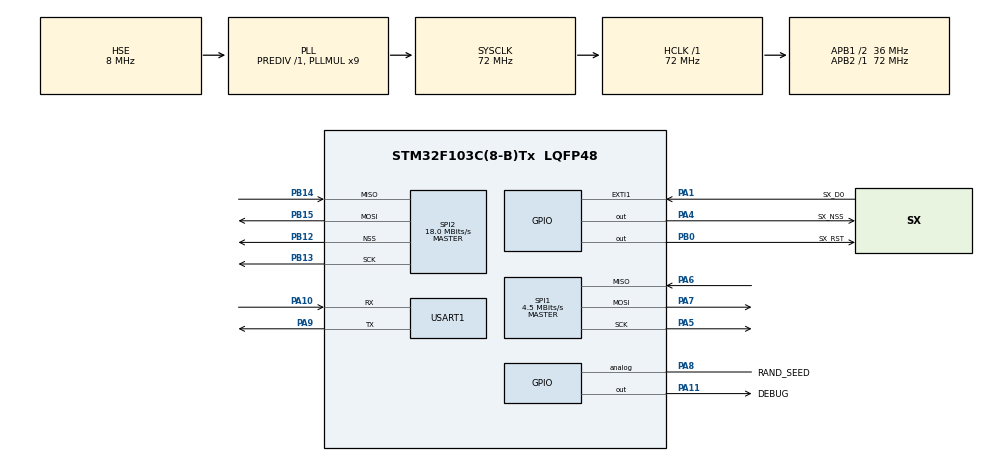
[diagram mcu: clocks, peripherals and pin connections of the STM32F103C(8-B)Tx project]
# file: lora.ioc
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Dma.Request0=USART1_RX
Dma.Request1=USART1_TX
Dma.Request2=SPI1_RX
Dma.Request3=SPI1_TX
Dma.SPI1_RX.2.Direction=DMA_PERIPH_TO_MEMORY
Dma.SPI1_RX.2.Instance=DMA1_Channel2
Dma.SPI1_RX.2.MemDataAlignment=DMA_MDATAALIGN_BYTE
Dma.SPI1_RX.2.MemInc=DMA_MINC_DISABLE
Dma.SPI1_RX.2.Mode=DMA_NORMAL
Dma.SPI1_RX.2.PeriphDataAlignment=DMA_PDATAALIGN_BYTE
Dma.SPI1_RX.2.PeriphInc=DMA_PINC_DISABLE
Dma.SPI1_RX.2.Priority=DMA_PRIORITY_LOW
Dma.SPI1_TX.3.Direction=DMA_MEMORY_TO_PERIPH
Dma.SPI1_TX.3.Instance=DMA1_Channel3
Dma.SPI1_TX.3.MemDataAlignment=DMA_MDATAALIGN_BYTE
Dma.SPI1_TX.3.MemInc=DMA_MINC_DISABLE
Dma.SPI1_TX.3.Mode=DMA_NORMAL
Dma.SPI1_TX.3.PeriphDataAlignment=DMA_PDATAALIGN_BYTE
Dma.SPI1_TX.3.PeriphInc=DMA_PINC_DISABLE
Dma.SPI1_TX.3.Priority=DMA_PRIORITY_LOW
Dma.USART1_RX.0.Direction=DMA_PERIPH_TO_MEMORY
Dma.USART1_RX.0.Instance=DMA1_Channel5
Dma.USART1_RX.0.MemDataAlignment=DMA_MDATAALIGN_BYTE
Dma.USART1_RX.0.MemInc=DMA_MINC_ENABLE
Dma.USART1_RX.0.Mode=DMA_NORMAL
Dma.USART1_RX.0.PeriphDataAlignment=DMA_PDATAALIGN_BYTE
Dma.USART1_RX.0.PeriphInc=DMA_PINC_DISABLE
Dma.USART1_RX.0.Priority=DMA_PRIORITY_LOW
Dma.USART1_TX.1.Direction=DMA_MEMORY_TO_PERIPH
Dma.USART1_TX.1.Instance=DMA1_Channel4
Dma.USART1_TX.1.MemDataAlignment=DMA_MDATAALIGN_BYTE
Dma.USART1_TX.1.MemInc=DMA_MINC_ENABLE
Dma.USART1_TX.1.Mode=DMA_NORMAL
Dma.USART1_TX.1.PeriphDataAlignment=DMA_PDATAALIGN_BYTE
Dma.USART1_TX.1.PeriphInc=DMA_PINC_DISABLE
Dma.USART1_TX.1.Priority=DMA_PRIORITY_LOW
FREERTOS.Tasks01=defaultTask,24,128,StartDefaultTask,Default,NULL,Dynamic,NULL,NULL
FREERTOS.configCHECK_FOR_STACK_OVERFLOW=2
FREERTOS.configTOTAL_HEAP_SIZE=4096
FREERTOS.configUSE_MALLOC_FAILED_HOOK=1
FREERTOS.configUSE_NEWLIB_REENTRANT=1
Mcu.Family=STM32F1
Mcu.Name=STM32F103C(8-B)Tx
Mcu.Package=LQFP48
NVIC.DMA1_Channel2_IRQn=true\:5\:0\:false\:false\:true\:true\:false\:true\:true
NVIC.DMA1_Channel3_IRQn=true\:5\:0\:false\:false\:true\:true\:false\:true\:true
NVIC.DMA1_Channel4_IRQn=true\:5\:0\:false\:false\:true\:true\:false\:true\:true
NVIC.DMA1_Channel5_IRQn=true\:5\:0\:false\:false\:true\:true\:false\:true\:true
NVIC.EXTI1_IRQn=true\:5\:0\:false\:false\:true\:true\:true\:true\:true
NVIC.PriorityGroup=NVIC_PRIORITYGROUP_4
NVIC.SPI1_IRQn=true\:5\:0\:false\:false\:true\:true\:true\:true\:true
NVIC.SPI2_IRQn=true\:5\:0\:false\:false\:true\:true\:true\:true\:true
NVIC.TIM3_IRQn=true\:5\:0\:false\:false\:true\:true\:true\:true\:true
NVIC.TIM4_IRQn=true\:15\:0\:false\:false\:true\:false\:false\:true\:true
NVIC.TimeBase=TIM4_IRQn
NVIC.TimeBaseIP=TIM4
NVIC.USART1_IRQn=true\:5\:0\:false\:false\:true\:true\:true\:true\:true
PA1.GPIO_Label=SX_D0
PA1.GPIO_PuPd=GPIO_PULLUP
PA1.Signal=GPXTI1
PA10.Mode=Asynchronous
PA10.Signal=USART1_RX
PA11.GPIO_Label=DEBUG
PA11.GPIO_PuPd=GPIO_PULLUP
PA11.GPIO_Speed=GPIO_SPEED_FREQ_HIGH
PA11.PinState=GPIO_PIN_SET
PA11.Signal=GPIO_Output
PA13.Mode=Serial_Wire
PA13.Signal=SYS_JTMS-SWDIO
PA14.Mode=Serial_Wire
PA14.Signal=SYS_JTCK-SWCLK
PA4.GPIO_Label=SX_NSS
PA4.GPIO_Speed=GPIO_SPEED_FREQ_HIGH
PA4.PinState=GPIO_PIN_SET
PA4.Signal=GPIO_Output
PA5.Mode=Full_Duplex_Master
PA5.Signal=SPI1_SCK
PA6.Mode=Full_Duplex_Master
PA6.Signal=SPI1_MISO
PA7.Mode=Full_Duplex_Master
PA7.Signal=SPI1_MOSI
PA8.GPIO_Label=RAND_SEED
PA8.Signal=GPIO_Analog
PA9.Mode=Asynchronous
PA9.Signal=USART1_TX
PB0.GPIO_Label=SX_RST
PB0.GPIO_Speed=GPIO_SPEED_FREQ_HIGH
PB0.PinState=GPIO_PIN_SET
PB0.Signal=GPIO_Output
PB12.Mode=NSS_Signal_Hard_Output
PB12.Signal=SPI2_NSS
PB13.Mode=Full_Duplex_Master
PB13.Signal=SPI2_SCK
PB14.Mode=Full_Duplex_Master
PB14.Signal=SPI2_MISO
PB15.Mode=Full_Duplex_Master
PB15.Signal=SPI2_MOSI
PC14-OSC32_IN.Mode=LSE-External-Oscillator
PC14-OSC32_IN.Signal=RCC_OSC32_IN
PC15-OSC32_OUT.Mode=LSE-External-Oscillator
PC15-OSC32_OUT.Signal=RCC_OSC32_OUT
PD0-OSC_IN.Mode=HSE-External-Oscillator
PD0-OSC_IN.Signal=RCC_OSC_IN
PD1-OSC_OUT.Mode=HSE-External-Oscillator
PD1-OSC_OUT.Signal=RCC_OSC_OUT
ProjectManager.HeapSize=0x200
ProjectManager.StackSize=0x400
ProjectManager.TargetToolchain=STM32CubeIDE
RCC.AHBFreq_Value=72000000
RCC.APB1CLKDivider=RCC_HCLK_DIV2
RCC.APB1Freq_Value=36000000
RCC.APB1TimFreq_Value=72000000
RCC.APB2Freq_Value=72000000
RCC.APB2TimFreq_Value=72000000
RCC.HCLKFreq_Value=72000000
RCC.PLLMUL=RCC_PLL_MUL9
RCC.PLLSourceVirtual=RCC_PLLSOURCE_HSE
RCC.SYSCLKFreq_VALUE=72000000
RCC.SYSCLKSource=RCC_SYSCLKSOURCE_PLLCLK
RCC.USBFreq_Value=72000000
SPI1.BaudRatePrescaler=SPI_BAUDRATEPRESCALER_16
SPI1.CalculateBaudRate=4.5 MBits/s
SPI1.Direction=SPI_DIRECTION_2LINES
SPI1.Mode=SPI_MODE_MASTER
SPI1.VirtualType=VM_MASTER
SPI2.CalculateBaudRate=18.0 MBits/s
SPI2.Direction=SPI_DIRECTION_2LINES
SPI2.Mode=SPI_MODE_MASTER
SPI2.VirtualNSS=VM_NSSHARD
SPI2.VirtualType=VM_MASTER
TIM3.CounterMode=TIM_COUNTERMODE_DOWN
TIM3.Prescaler=72-1
USART1.VirtualMode=VM_ASYNC
VP_CRC_VS_CRC.Mode=CRC_Activate
VP_FREERTOS_VS_CMSIS_V2.Mode=CMSIS_V2
VP_SYS_VS_tim4.Mode=TIM4
VP_TIM3_VS_ClockSourceINT.Mode=Internal
board=custom

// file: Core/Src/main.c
/* USER CODE BEGIN Header */
/**
 ******************************************************************************
 * @file           : main.c
 * @brief          : Main program body
 ******************************************************************************
 * @attention
 *
 * Copyright (c) 2023 STMicroelectronics.
 * All rights reserved.
 *
 * This software is licensed under terms that can be found in the LICENSE file
 * in the root directory of this software component.
 * If no LICENSE file comes with this software, it is provided AS-IS.
 *
 ******************************************************************************
 */
/* USER CODE END Header */
#include "main.h"

#include "cmsis_os.h"
#include "crc.h"
#include "dma.h"
#include "gpio.h"
#include "spi.h"
#include "tim.h"
#include "usart.h"

/* USER CODE BEGIN Includes */

#include <stdlib.h>
#include <string.h>

#define LORA_IT
#include "service/lora/lora.h"
#include "utility.h"

/* USER CODE END Includes */

/* USER CODE BEGIN PV */
// int message = 0;
/* USER CODE END PV */

void SystemClock_Config(void);
void MX_FREERTOS_Init(void);

int main(void) {

  /* MCU Configuration--------------------------------------------------------*/

  /* Reset of all peripherals, Initializes the Flash interface and the Systick. */
  HAL_Init();

  /* Configure the system clock */
  SystemClock_Config();

  /* Initialize all configured peripherals */
  MX_GPIO_Init();
  MX_DMA_Init();
  MX_SPI1_Init();
  MX_USART1_UART_Init();
  MX_SPI2_Init();
  MX_CRC_Init();
  MX_TIM3_Init();
  /* USER CODE BEGIN 2 */
  // assert_param(LoraInit());
  uint32_t rand_seed = GetRandSeed();
  srand(rand_seed);
  printf("Debug: rand seed: %u\r\n", rand_seed);
  // LoraInit();

  /* USER CODE END 2 */

  /* Init scheduler */
  osKernelInitialize(); /* Call init function for freertos objects (in freertos.c) */
  MX_FREERTOS_Init();

  /* Start scheduler */
  osKernelStart();

  /* We should never get here as control is now taken by the scheduler */
  /* Infinite loop */
  while (1) {

  }
}

void SystemClock_Config(void) {
  RCC_OscInitTypeDef RCC_OscInitStruct = {0};
  RCC_ClkInitTypeDef RCC_ClkInitStruct = {0};

  /** Initializes the RCC Oscillators according to the specified parameters
   * in the RCC_OscInitTypeDef structure.
   */
  RCC_OscInitStruct.OscillatorType = RCC_OSCILLATORTYPE_HSE;
  RCC_OscInitStruct.HSEState = RCC_HSE_ON;
  RCC_OscInitStruct.HSEPredivValue = RCC_HSE_PREDIV_DIV1;
  RCC_OscInitStruct.HSIState = RCC_HSI_ON;
  RCC_OscInitStruct.PLL.PLLState = RCC_PLL_ON;
  RCC_OscInitStruct.PLL.PLLSource = RCC_PLLSOURCE_HSE;
  RCC_OscInitStruct.PLL.PLLMUL = RCC_PLL_MUL9;
  if (HAL_RCC_OscConfig(&RCC_OscInitStruct) != HAL_OK) {
    Error_Handler();
  }

  /** Initializes the CPU, AHB and APB buses clocks
   */
  RCC_ClkInitStruct.ClockType = RCC_CLOCKTYPE_HCLK | RCC_CLOCKTYPE_SYSCLK | RCC_CLOCKTYPE_PCLK1 | RCC_CLOCKTYPE_PCLK2;
  RCC_ClkInitStruct.SYSCLKSource = RCC_SYSCLKSOURCE_PLLCLK;
  RCC_ClkInitStruct.AHBCLKDivider = RCC_SYSCLK_DIV1;
  RCC_ClkInitStruct.APB1CLKDivider = RCC_HCLK_DIV2;
  RCC_ClkInitStruct.APB2CLKDivider = RCC_HCLK_DIV1;

  if (HAL_RCC_ClockConfig(&RCC_ClkInitStruct, FLASH_LATENCY_2) != HAL_OK) {
    Error_Handler();
  }
}

void HAL_TIM_PeriodElapsedCallback(TIM_HandleTypeDef *htim) {
  if (htim->Instance == TIM4) {
    HAL_IncTick();
  }
  /* USER CODE BEGIN Callback 1 */
  if (htim->Instance == TIM3) {
    LoraTimerCallbackFromISR();
  }
  /* USER CODE END Callback 1 */
}

void Error_Handler(void) {
  __disable_irq();
  while (1) {
  }
}

#ifdef USE_FULL_ASSERT
/**
 * @brief  Reports the name of the source file and the source line number
 *         where the assert_param error has occurred.
 * @param  file: pointer to the source file name
 * @param  line: assert_param error line source number
 * @retval None
 */
void assert_failed(uint8_t *file, uint32_t line) {
  /* USER CODE BEGIN 6 */
  /* User can add his own implementation to report the file name and line number,
     ex: printf("Wrong parameters value: file %s on line %d\r\n", file, line) */
  printf("Assertion failed in file %s at line %lu.\n", file, line);  // NOLINT
  while (1) {
  }
  /* USER CODE END 6 */
}
#endif /* USE_FULL_ASSERT */

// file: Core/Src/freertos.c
/* USER CODE BEGIN Header */
/**
 ******************************************************************************
 * File Name          : freertos.c
 * Description        : Code for freertos applications
 ******************************************************************************
 * @attention
 *
 * Copyright (c) 2023 STMicroelectronics.
 * All rights reserved.
 *
 * This software is licensed under terms that can be found in the LICENSE file
 * in the root directory of this software component.
 * If no LICENSE file comes with this software, it is provided AS-IS.
 *
 ******************************************************************************
 */
/* USER CODE END Header */

#include "FreeRTOS.h"

#include "cmsis_os.h"
#include "main.h"
#include "task.h"

/* USER CODE BEGIN Includes */
#include "tasks.h"
/* USER CODE END Includes */

/* Definitions for defaultTask */
osThreadId_t defaultTaskHandle;
const osThreadAttr_t defaultTask_attributes = {
    .name = "defaultTask",
    .stack_size = 128 * 4,
    .priority = (osPriority_t)osPriorityNormal,
};

void StartDefaultTask(void *argument);

void MX_FREERTOS_Init(void); /* (MISRA C 2004 rule 8.1) */

/* Hook prototypes */
void vApplicationStackOverflowHook(xTaskHandle xTask, signed char *pcTaskName);
void vApplicationMallocFailedHook(void);

/* USER CODE BEGIN 4 */
void vApplicationStackOverflowHook(xTaskHandle xTask, signed char *pcTaskName) {
  /* Run time stack overflow checking is performed if
  configCHECK_FOR_STACK_OVERFLOW is defined to 1 or 2. This hook function is
  called if a stack overflow is detected. */
  UNUSED(xTask);
  printf("ERROR: stack overflow! Task name: %s\r\n", pcTaskName);
  while (1) {
  }
}
/* USER CODE END 4 */

/* USER CODE BEGIN 5 */
void vApplicationMallocFailedHook(void) {
  /* vApplicationMallocFailedHook() will only be called if
  configUSE_MALLOC_FAILED_HOOK is set to 1 in FreeRTOSConfig.h. It is a hook
  function that will get called if a call to pvPortMalloc() fails.
  pvPortMalloc() is called internally by the kernel whenever a task, queue,
  timer or semaphore is created. It is also called by various parts of the
  demo application. If heap_1.c or heap_2.c are used, then the size of the
  heap available to pvPortMalloc() is defined by configTOTAL_HEAP_SIZE in
  FreeRTOSConfig.h, and the xPortGetFreeHeapSize() API function can be used
  to query the size of free heap space that remains (although it does not
  provide information on how the remaining heap might be fragmented). */
  printf("ERROR: malloc failed!\r\n");
  while (1) {
  }
}
/* USER CODE END 5 */

void MX_FREERTOS_Init(void) {

  /* USER CODE BEGIN RTOS_QUEUES */
  /* add queues, ... */
#define osThreadNew(a, b, c) (NULL)  // 垃圾STM32Cube
  /* USER CODE END RTOS_QUEUES */

  /* Create the thread(s) */
  /* creation of defaultTask */
  defaultTaskHandle = osThreadNew(StartDefaultTask, NULL, &defaultTask_attributes);

  /* USER CODE BEGIN RTOS_THREADS */
#undef osThreadNew
  /* add threads, ... */
  TaskInit();
  /* USER CODE END RTOS_THREADS */

}

void StartDefaultTask(void *argument) {
  /* USER CODE BEGIN StartDefaultTask */
  UNUSED(argument);
  vTaskDelete(NULL);
  /* Infinite loop */
  for (;;) {
    osDelay(1);
  }
  /* USER CODE END StartDefaultTask */
}
